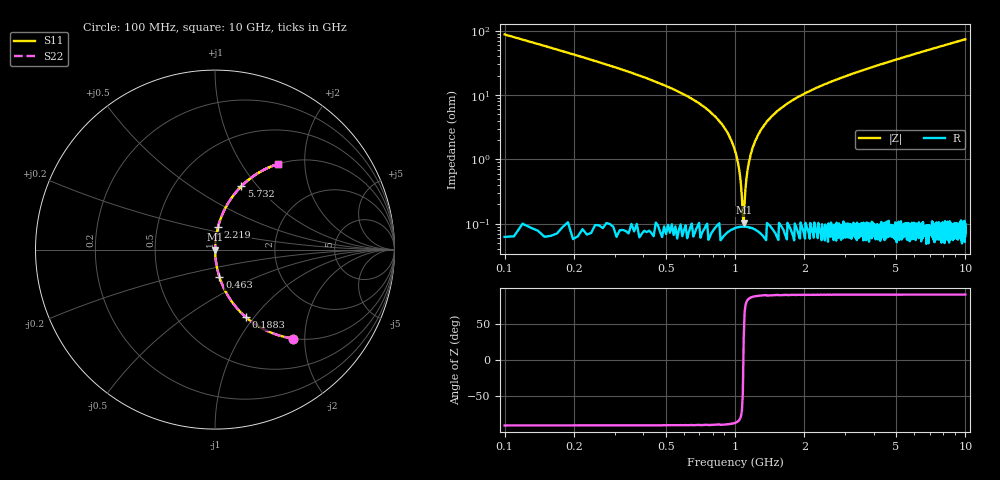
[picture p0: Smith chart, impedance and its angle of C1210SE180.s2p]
! AVX Thin Film Operation		Date: April 2012
! Description: Accu-P® Series, Thin Film, SMD, RF Capacitor
! Part Number: 12101J180FBTTR
!	100	MHz	-	10.05	GHz
!	Serial	Measurements
#	MHZ	S	MA	R	50
!	S11	S21	S12	S22
!	dB	Phase	dB	Phase	dB	Phase	dB	Phase
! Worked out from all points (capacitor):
!   1010 points, 100 MHz to 10 GHz, reference 50 ohm
!   read as one part in series: C = 18 pF near 149.1 MHz
!   lowest |Z| = 104 mohm at 1.091 GHz (marker M1)
!   series resonance near 1.088 GHz, so ESL is about 1.2 nH
!   S11 on the Smith chart (normalised r, x): 100 MHz: 1.00, -1.75; 188.3 MHz: 1.00, -0.91; 463 MHz: 1.00, -0.31; 2.219 GHz: 1.00, +0.25; 5.732 GHz: 1.00, +0.83; 10 GHz: 1.00, +1.48
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100  0.659 -48.7  0.752 41.2  0.752 41.2  0.659 -48.7
188.305  0.414 -65.4  0.909 24.5  0.909 24.5  0.414 -65.4
463.033  0.154 -80.8  0.987 8.9  0.987 8.9  0.154 -80.8
727.948  0.067 -85.5  0.997 3.8  0.997 3.8  0.067 -85.5
894.747  0.032 -86.7  0.999 1.8  0.999 1.8  0.032 -86.7
983.053  0.016 -86.3  0.999 0.9  0.999 0.9  0.016 -86.3
1012.488  0.012 -85.4  0.999 0.7  0.999 0.7  0.012 -85.4
1051.734  0.0055 -81.3  0.999 0.3  0.999 0.3  0.0055 -81.3
1090.981  0.000952 32.8  0.999 -0.0  0.999 -0.0  0.000952 32.8
1120.416  0.00491 80.3  0.999 -0.3  0.999 -0.3  0.00491 80.3
1159.663  0.01 85.0  0.999 -0.6  0.999 -0.6  0.01 85.0
1189.098  0.015 86.0  0.999 -0.8  0.999 -0.8  0.015 86.0
1297.027  0.029 86.8  0.999 -1.6  0.999 -1.6  0.029 86.8
1483.449  0.051 86.2  0.998 -2.9  0.998 -2.9  0.051 86.2
1758.176  0.081 84.8  0.996 -4.6  0.996 -4.6  0.081 84.8
2219.326  0.125 82.5  0.991 -7.2  0.991 -7.2  0.125 82.5
3406.541  0.223 76.9  0.974 -12.9  0.974 -12.9  0.223 76.9
5054.906  0.339 70.1  0.94 -19.8  0.94 -19.8  0.339 70.1
5731.913  0.382 67.5  0.924 -22.4  0.924 -22.4  0.382 67.5
6703.271  0.438 63.9  0.898 -26.0  0.898 -26.0  0.438 63.9
8351.635  0.523 58.4  0.852 -31.5  0.852 -31.5  0.523 58.4
10000  0.594 53.5  0.804 -36.4  0.804 -36.4  0.594 53.5
